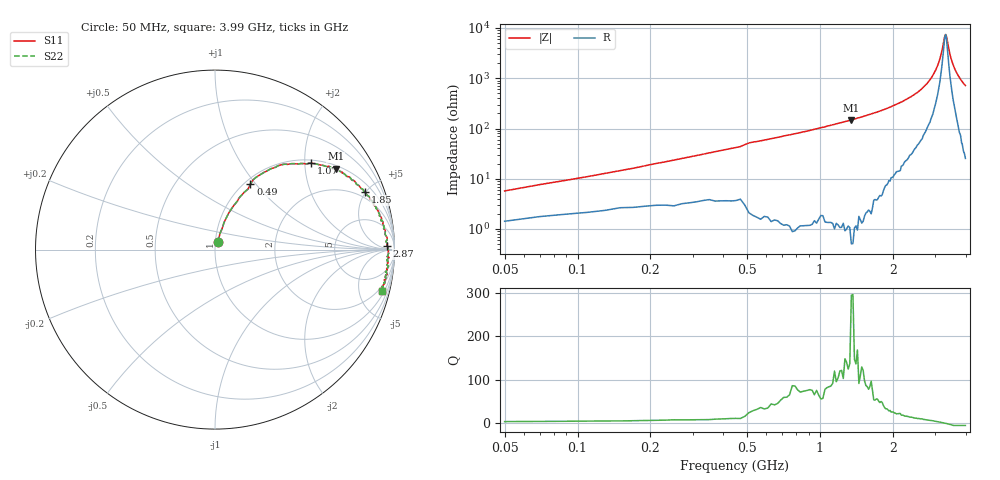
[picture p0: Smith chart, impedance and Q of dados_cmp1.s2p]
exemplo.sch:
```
<QucsStudio Schematic 3.3.2>
<Properties>
View=161,-183,2235,1015,0.862005,49,120
Grid=10,10,1
DataSet=*.dat
DataDisplay=*.dpl
OpenDisplay=1
showFrame=0
FrameText0=Title
FrameText1=Drawn By:
FrameText2=Date:
FrameText3=Revision:
</Properties>
<Symbol>
</Symbol>
<Components>
GND * 1 1430 290 0 0 0 0
SPfile X2 1 1430 240 -26 -93 0 0 "dados_cmp1.s2p" 1 "2" 0 "polar" 1 "linear" 0 "short" 0 "none" 0 "block" 0 "TO92" 0
GND * 1 1100 330 0 0 0 0
GND * 1 1260 330 0 0 0 0
GND * 1 1770 340 0 0 0 0
GND * 1 1420 580 0 0 0 0
SPfile X3 1 1420 530 -26 -93 0 0 "dados_cmp1.s2p" 1 "2" 0 "polar" 1 "linear" 0 "short" 0 "none" 0 "block" 0 "TO92" 0
GND * 1 1090 620 0 0 0 0
GND * 1 1250 620 0 0 0 0
GND * 1 1760 630 0 0 0 0
GND * 1 1670 610 0 0 1 2
Vac V1 1 1100 300 18 -26 0 0 "1 V" 1 "1 GHz" 0 "0" 0 "0" 0 "SUBCLICK" 0
R R1 1 1680 310 15 -26 0 1 "50 Ω" 1 "26.85" 0 "0" 0 "0" 0 "26.85" 0 "european" 0 "SMD0603" 0
GND * 1 1680 340 0 0 1 2
Vac V7 1 1760 600 18 -26 0 0 "1 V" 1 "1 GHz" 0 "0" 0 "0" 0 "SUBCLICK" 0
R R2 1 1250 590 15 -26 0 1 "50 Ω" 1 "26.85" 0 "0" 0 "0" 0 "26.85" 0 "european" 0 "SMD0603" 0
IProbe I1_1 1 1350 240 -26 16 0 0
IProbe I1_2 1 1600 240 8 16 1 2
VProbe V1_2 1 1790 290 -16 28 0 3
IProbe I2_1 1 1340 530 -26 16 0 0
IProbe I2_2 1 1590 530 8 16 1 2
VProbe V1_1 1 1240 300 -31 28 1 3
VProbe V2_2 1 1690 580 6 28 0 3
GND * 1 1030 920 0 0 0 0
GND * 1 1170 860 0 0 0 0
VProbe V3_3 1 1150 850 -31 28 1 3
IProbe I3_3 1 1230 800 -26 16 0 0
GND * 1 1820 50 0 0 0 0
Pac P7 1 1820 20 18 -26 0 0 "3" 1 "50 Ω" 1 "0 dBm" 0 "1 GHz" 0 "26.85" 0 "SUBCLICK" 0
GND * 1 1080 50 0 0 0 0
Pac P8 1 1080 20 18 -26 0 0 "4" 1 "50 Ω" 1 "0 dBm" 0 "1 GHz" 0 "26.85" 0 "SUBCLICK" 0
SPfile X4 1 1380 -70 -26 -93 0 0 "dados_cmp1.s2p" 1 "2" 0 "polar" 1 "linear" 0 "short" 0 "none" 0 "block" 0 "TO92" 0
GND * 1 1380 -40 0 0 0 0
GND * 1 1770 920 0 0 0 0
.AC AC1 1 250 30 0 46 0 0 "lin" 1 "50 MHz" 1 "3990 MHz" 1 "1000" 1 "no" 0 "none" 0
R R5 1 1390 800 -26 -63 0 2 "0.22 Ω" 1 "26.85" 0 "0" 0 "0" 0 "26.85" 0 "european" 0 "SMD0603" 0
Pac P9 1 1030 890 18 -26 0 0 "1" 1 "50 Ω" 1 "0 dBm" 0 "1 GHz" 0 "26.85" 0 "SUBCLICK" 0
R R6 1 1770 890 15 -26 0 1 "50 Ω" 1 "26.85" 0 "0" 0 "0" 0 "26.85" 0 "european" 0 "SMD0603" 0
VProbe V2_1 1 1070 570 -31 28 1 3
Eqn Eqn1 1 260 290 0 8 0 0 "Zin3=V3_3/I3_3=" 1 "Zin1=V3_3/I3_3=" 1 "Q=imag(Zin1)/real(Zin1)=" 1 "yes" 0
</Components>
<Wires>
1430 270 1430 290 "" 0 0 0 ""
1380 240 1400 240 "" 0 0 0 ""
1100 240 1100 270 "" 0 0 0 ""
1100 240 1260 240 "" 0 0 0 ""
1460 240 1570 240 "" 0 0 0 ""
1770 240 1770 280 "" 0 0 0 ""
1630 240 1680 240 "" 0 0 0 ""
1680 240 1770 240 "" 0 0 0 ""
1680 240 1680 280 "" 0 0 0 ""
1420 560 1420 580 "" 0 0 0 ""
1370 530 1390 530 "" 0 0 0 ""
1450 530 1560 530 "" 0 0 0 ""
1760 530 1760 570 "" 0 0 0 ""
1620 530 1670 530 "" 0 0 0 ""
1770 300 1770 340 "" 0 0 0 ""
1250 530 1310 530 "" 0 0 0 ""
1250 530 1250 560 "" 0 0 0 ""
1090 530 1250 530 "" 0 0 0 ""
1090 530 1090 560 "" 0 0 0 ""
1090 580 1090 620 "" 0 0 0 ""
1260 310 1260 330 "" 0 0 0 ""
1260 240 1320 240 "" 0 0 0 ""
1260 240 1260 290 "" 0 0 0 ""
1670 530 1760 530 "" 0 0 0 ""
1670 530 1670 570 "" 0 0 0 ""
1670 590 1670 610 "" 0 0 0 ""
1030 800 1170 800 "" 0 0 0 ""
1030 800 1030 860 "" 0 0 0 ""
1170 800 1200 800 "" 0 0 0 ""
1170 800 1170 840 "" 0 0 0 ""
1820 -70 1820 -10 "" 0 0 0 ""
1080 -70 1080 -10 "" 0 0 0 ""
1080 -70 1350 -70 "" 0 0 0 ""
1410 -70 1820 -70 "" 0 0 0 ""
1440 800 1440 860 "" 0 0 0 ""
1420 800 1440 800 "" 0 0 0 ""
1440 860 1770 860 "" 0 0 0 ""
1260 800 1360 800 "" 0 0 0 ""
</Wires>
<Diagrams>
<Tab 205 819 769 339 71 #c0c0c0 1 00 1 0 1 1 1 0 1 1 1 0 1 1000 315 0 225 "" "" "">
	<"Zin1" "" #0000ff 0 3 0 0 0 0 "">
	<"Zin2" "" #0000ff 0 3 0 0 0 0 "">
</Tab>
</Diagrams>
<Paintings>
</Paintings>
```
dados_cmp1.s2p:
! Data Taken on a HP 8720C VNA using a shunt-through fixture with TRL* de-embedding
#	mhz	s	ma	r	50
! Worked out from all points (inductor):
!   198 points, 50 MHz to 3.99 GHz, reference 50 ohm
!   read as one part in series: L = 16.9 nH near 50 MHz
!   highest Q = 295 at 1.35 GHz (marker M1), where L = 17.5 nH
!   self-resonance near 3.29 GHz
!   S11 on the Smith chart (normalised r, x): 50 MHz: 1.03, +0.09; 490 MHz: 1.07, +0.94; 1.07 GHz: 1.08, +2.16; 1.85 GHz: 1.53, +4.93; 2.87 GHz: 36, +19; 3.99 GHz: 1.39, -8.01
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50  0.04542 67.0  0.986 -3.8  0.986 -3.8  0.04542 67.0
190  0.1708 71.1  0.9574 -10.1  0.9574 -10.1  0.1708 71.1
490  0.4144 61.6  0.8778 -25.3  0.8778 -25.3  0.4144 61.6
1070  0.7203 41.9  0.65 -48.2  0.65 -48.2  0.7203 41.9
1350  0.8099 33.8  0.5452 -56.5  0.5452 -56.5  0.8099 33.8
1850  0.8949 21.0  0.3749 -67.6  0.3749 -67.6  0.8949 21.0
2030  0.9181 16.9  0.3193 -70.8  0.3193 -70.8  0.9181 16.9
2870  0.9576 1.3  0.09821 -79.8  0.09821 -79.8  0.9576 1.3
3310  0.9612 -5.0  0.01289 1.5  0.01289 1.5  0.9612 -5.0
3590  0.9626 -8.8  0.0591 71.3  0.0591 71.3  0.9626 -8.8
3990  0.9595 -13.8  0.1325 74.4  0.1325 74.4  0.9595 -13.8
